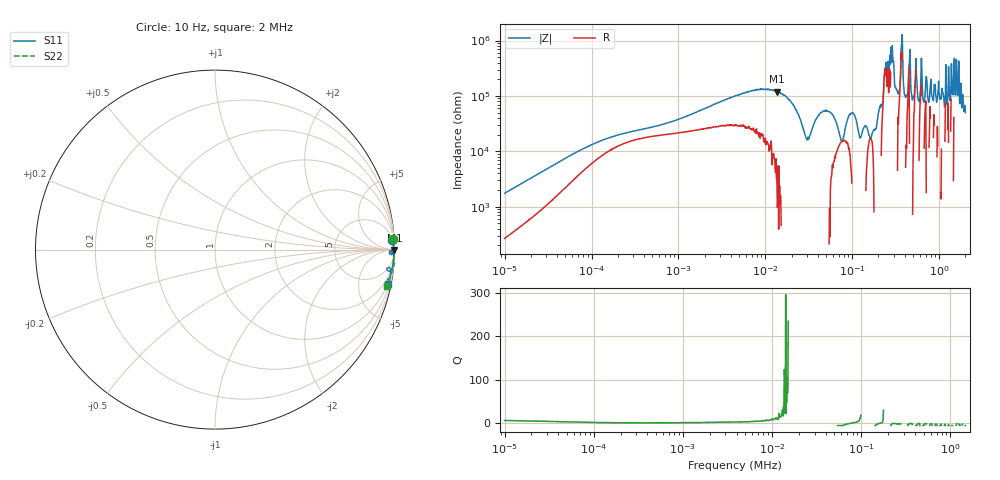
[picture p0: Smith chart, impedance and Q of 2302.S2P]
!Agilent Technologies,E5061B,MY49204007,A.02.12
!Date: Wed Jul 23 11:35:48 2025
!Data & Calibration Information:
!Freq	S11:SOLT2(ON)	S21:SOLT2(ON)	S12:SOLT2(ON)	S22:SOLT2(ON)
# Hz S dB R 50
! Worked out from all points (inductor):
!   1040 points, 10 Hz to 2 MHz, reference 50 ohm
!   read as one part in series: L = 26.7 H near 10.69 Hz
!   highest Q = 23.8 at 13.57 kHz (marker M1), where L = 1.41 H
!   self-resonance near 30.22 kHz
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10  -0.09 3.2  -24.91 -77.9  -24.92 -77.8  -0.08 3.4
77.209  -0.03 0.5  -40.70 -66.6  -40.71 -66.4  -0.02 0.7
588.818  -0.02 0.1  -49.33 -48.4  -49.33 -48.3  -0.01 0.3
4498.482  -0.01 -0.0  -59.97 -72.8  -60.00 -73.3  0.01 0.2
13569.4  -0.00 -0.2  -61.58 -88.6  -61.56 -88.8  0.01 0.1
29910.04  -0.08 -0.4  -44.39 -170.1  -44.37 -170.1  -0.02 -0.1
34305.13  -0.03 -0.1  -48.03 125.3  -48.02 125.8  -0.00 0.1
49406.73  -0.01 -0.4  -54.94 93.4  -54.64 93.3  0.01 -0.1
75137.08  -0.10 -0.7  -43.73 13.9  -43.73 13.6  -0.02 -0.3
98845.22  -0.02 -0.8  -53.79 -87.5  -54.08 -86.9  0.01 -0.4
123284.5  -0.14 -0.9  -44.81 172.7  -44.85 173.1  -0.01 -0.5
167180.6  -0.20 -0.4  -45.76 -36.0  -45.75 -34.5  -0.01 -0.8
261946.5  -0.02 -1.0  -69.40 66.0  -71.63 49.1  -0.02 -1.3
285404.3  -0.02 -1.2  -74.20 91.4  -78.00 90.7  0.00 -1.4
331153.5  -0.02 -1.5  -61.67 86.2  -61.73 85.5  -0.01 -1.7
375694.8  -0.02 -1.8  -82.22 64.9  -82.38 50.1  -0.01 -1.9
410311.9  -0.01 -2.0  -59.52 84.8  -59.29 89.8  -0.01 -2.1
455072.7  -0.02 -2.3  -72.89 85.9  -74.60 51.4  -0.01 -2.3
499833.6  -0.02 -2.6  -59.59 83.3  -58.52 80.5  -0.01 -2.6
1089844  -0.10 -6.6  -61.52 82.0  -60.50 85.2  -0.05 -6.4
1574823  -0.11 -8.4  -73.35 87.7  -71.68 98.6  -0.11 -9.2
2000000  -0.16 -11.1  -54.21 -135.1  -54.44 -131.0  -0.19 -11.8
